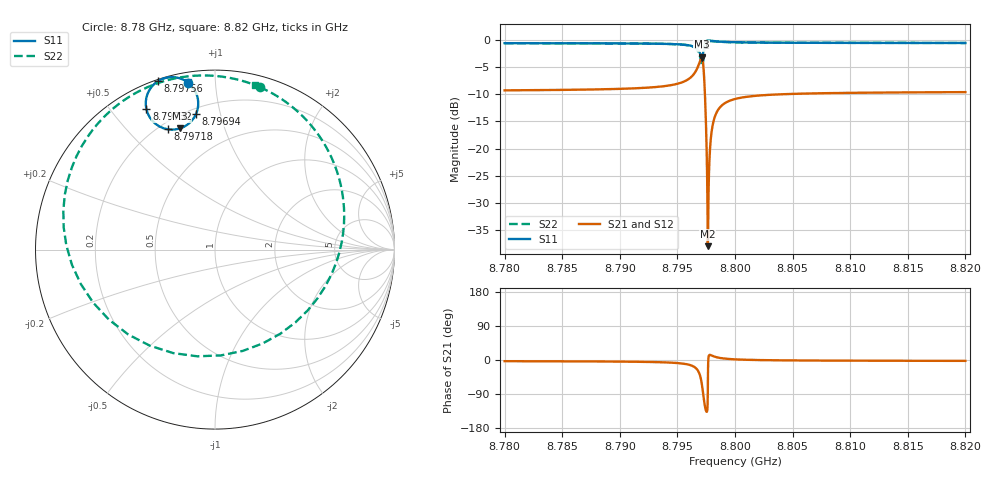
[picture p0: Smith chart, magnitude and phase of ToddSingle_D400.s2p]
! Sonnet Data File
! From: emgraph Version : 16.52
! From Emgraph Data: 171113transmon_brg_singlesided
! Data File Written: 11/13/2017 17:04:45
!< HDATE 11/13/2017 16:41:44
!< MDATE 11/13/2017 16:41:44
!< PARAMS
!< Lj = 15.24
!< Gap = 6.0
!< Width = 10.0
!< Pwidth = 2000.0
!< hDis = 198.0
!< END PARAMS
# GHZ S MA R 34.67000
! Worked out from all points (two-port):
!   2001 points, 8.78 GHz to 8.82 GHz, reference 34.67 ohm
!   highest |S21| = -3.25 dB at 8.79712 GHz (marker M1); lowest = -38.0 dB at 8.79764 GHz (marker M2)
!   |S21| within 3 dB of the highest: 8.79643 GHz to 8.797303 GHz (873.8 kHz wide, 0.00993 % of centre)
!   lowest |S11| = -3.1 dB at 8.79712 GHz (marker M3), VSWR 5.73, Z = 9.3 + j24.8 ohm
!   |S11| at or under -10 dB: nowhere
!   |S22| runs from -4.7 to -0.2 dB; largest |S21 - S12| = 0
!   S11 on the Smith chart (normalised r, x): 8.78 GHz: 0.05, +0.85; 8.79694 GHz: 0.23, +0.84; 8.79718 GHz: 0.24, +0.66; 8.79732 GHz: 0.10, +0.62; 8.79756 GHz: 0.01, +0.72; 8.82 GHz: 0.05, +0.85
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8.78  0.9388 99.1  0.3444 -3.1  0.3444 -3.1  0.9388 74.6
!< P1 F=8.78 Eeff=(5.13743391 -5.7017e-5) Z0=(34.6430374 -9.7216e-5) R=0.0 C=0.0
!< P2 F=8.78 Eeff=(5.13743391 -5.7017e-5) Z0=(34.6430374 -9.7216e-5) R=0.0 C=0.0
8.78668  0.9369 99.0  0.3496 -3.7  0.3496 -3.7  0.9368 73.7
8.79334  0.9284 98.5  0.3714 -5.7  0.3714 -5.7  0.9281 70.2
8.79516  0.9161 98.0  0.4004 -8.5  0.4004 -8.5  0.9149 65.3
8.79618  0.889 97.1  0.4558 -14.1  0.4558 -14.1  0.8845 55.2
8.79664  0.8458 96.5  0.5285 -22.5  0.5285 -22.5  0.8322 39.7
8.7968  0.8123 96.6  0.5757 -28.9  0.5757 -28.9  0.7883 27.4
8.79694  0.7652 97.9  0.6318 -38.6  0.6318 -38.6  0.7205 7.5
8.79702  0.7311 100.1  0.6662 -47.2  0.6662 -47.2  0.6639 -11.9
8.79712  0.7028 106.2  0.6881 -63.2  0.6881 -63.2  0.5934 -52.2
8.79718  0.7195 111.4  0.6659 -76.0  0.6659 -76.0  0.5904 -86.8
8.79732  0.87 116.0  0.4541 -109.2  0.4541 -109.2  0.7721 -165.7
8.79744  0.9613 112.3  0.2289 -129.4  0.2289 -129.4  0.9068 154.7
8.79756  0.9902 108.8  0.07468 -136.5  0.07468 -136.5  0.959 132.7
8.79764  0.9948 107.1  0.01253 -82.2  0.01253 -82.2  0.9723 123.4
8.79778  0.9938 105.1  0.07774 13.4  0.07774 13.4  0.98 112.5
8.79798  0.9875 103.5  0.1456 11.7  0.1456 11.7  0.9796 103.3
8.79832  0.9777 102.0  0.2059 7.9  0.2059 7.9  0.9737 95.0
8.8  0.9579 100.2  0.2866 1.7  0.2866 1.7  0.9573 83.4
8.80668  0.9465 99.3  0.3228 -1.4  0.3228 -1.4  0.9464 77.8
8.81334  0.9443 99.2  0.329 -2.0  0.329 -2.0  0.9443 76.8
8.82  0.9434 99.0  0.3317 -2.3  0.3317 -2.3  0.9433 76.3
